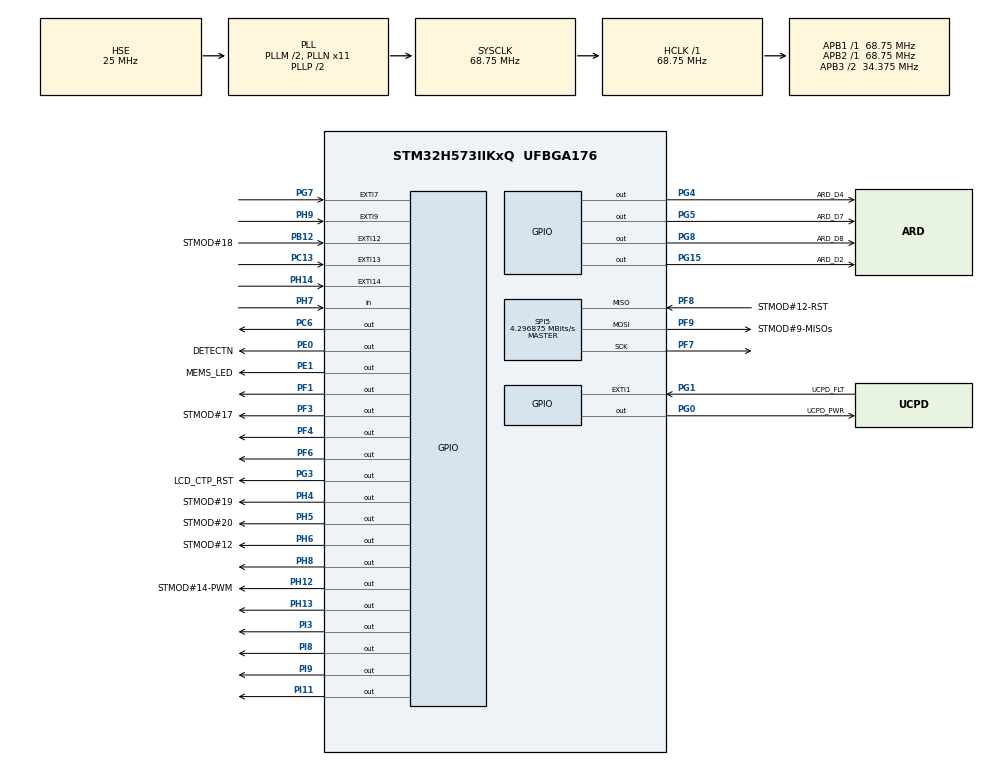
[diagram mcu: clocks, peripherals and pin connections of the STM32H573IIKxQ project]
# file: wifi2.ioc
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ADC1.Channel-0\#ChannelRegularConversion=ADC_CHANNEL_TEMPSENSOR
ADC1.ContinuousConvMode=ENABLE
ADC1.MonitoredBy-0\#ChannelRegularConversion=__NULL
ADC1.NbrOfConversionFlag=1
ADC1.OffsetNumber-0\#ChannelRegularConversion=ADC_OFFSET_NONE
ADC1.Rank-0\#ChannelRegularConversion=1
ADC1.SamplingTime-0\#ChannelRegularConversion=ADC_SAMPLETIME_2CYCLES_5
ADC1.master=1
BOOTPATH.BootPathName=LEGACY
BOOTPATH.UserSelectedBootPath=LEGACY
CORTEX_M33_NS.userName=CORTEX_M33
Mcu.Family=STM32H5
Mcu.Name=STM32H573IIKxQ
Mcu.Package=UFBGA176
NVIC.EXTI13_IRQn=true\:0\:0\:false\:false\:true\:false\:true\:true
NVIC.EXTI14_IRQn=true\:0\:0\:false\:false\:true\:false\:true\:true
NVIC.EXTI7_IRQn=true\:0\:0\:false\:false\:true\:false\:true\:true
NVIC.PriorityGroup=NVIC_PRIORITYGROUP_4
PA0.GPIO_Label=ARD_A2
PA0.Signal=ADCx_INP0
PA1.GPIO_Label=RMII_REF_CLK
PA1.Signal=ETH_REF_CLK
PA10.Signal=USART1_RX
PA11.GPIO_Label=USB_FS_N
PA11.Signal=USB_DM
PA12.GPIO_Label=USB_FS_P
PA12.Signal=USB_DP
PA13(JTMS/SWDIO).GPIO_Label=JTMS
PA13(JTMS/SWDIO).Signal=DEBUG_JTMS-SWDIO
PA14(JTCK/SWCLK).GPIO_Label=JTCK
PA14(JTCK/SWCLK).Signal=DEBUG_JTCK-SWCLK
PA15(JTDI).GPIO_Label=JTDI
PA15(JTDI).Signal=DEBUG_JTDI
PA2.GPIO_Label=RMII_MDIO
PA2.Signal=ETH_MDIO
PA3.GPIO_Label=ARD_D10
PA3.Signal=SPI2_NSS
PA4.GPIO_Label=ARD_A1
PA4.Signal=ADCx_INP18
PA5.GPIO_Label=ARD_A3
PA5.Signal=ADCx_INP19
PA6.GPIO_Label=ARD_A4
PA6.Signal=ADCx_INP3
PA7.GPIO_Label=RMII_CRS_DV
PA7.Signal=ETH_CRS_DV
PA8.GPIO_Label=ARD_D9
PA8.Signal=S_TIM1_CH1
PA9.Signal=USART1_TX
PB0.GPIO_Label=ARD_A0
PB0.Signal=ADCx_INP9
PB1.Signal=OCTOSPI1_IO0
PB10.GPIO_Label=ARD_D1
PB10.Signal=USART3_TX
PB11.GPIO_Label=ARD_D0
PB11.Signal=USART3_RX
PB12.GPIO_Label=STMOD\#18
PB12.Signal=GPXTI12
PB13.GPIO_Label=UCPD_CC1
PB13.Signal=UCPD1_CC1
PB14.GPIO_Label=UCPD_CC2
PB14.Signal=UCPD1_CC2
PB15.GPIO_Label=ARD_D11
PB15.Signal=SPI2_MOSI
PB2.Signal=OCTOSPI1_DQS
PB3(JTDO/TRACESWO).GPIO_Label=SWO
PB3(JTDO/TRACESWO).Signal=DEBUG_JTDO-SWO
PB5.GPIO_Label=ARD_D3
PB5.Signal=S_TIM3_CH2
PB6.GPIO_Label=I2C1_SCL
PB6.Signal=I2C1_SCL
PB7.GPIO_Label=I2C1_SDA
PB7.Signal=I2C1_SDA
PC0.Signal=OCTOSPI1_IO7
PC1.GPIO_Label=RMII_MDC
PC1.Signal=ETH_MDC
PC10.Signal=SDMMC1_D2
PC11.Signal=SDMMC1_D3
PC12.Signal=SDMMC1_CK
PC13.Signal=GPXTI13
PC14-OSC32_IN(OSC32_IN).Signal=RCC_OSC32_IN
PC15-OSC32_OUT(OSC32_OUT).Signal=RCC_OSC32_OUT
PC2.Signal=OCTOSPI1_IO2
PC3.GPIO_Label=PDM_SAI1_SD3
PC3.Signal=SAI1_D3
PC4.GPIO_Label=RMII_RXD0
PC4.Signal=ETH_RXD0
PC5.GPIO_Label=RMII_RXD1
PC5.Signal=ETH_RXD1
PC6.Signal=GPIO_Output
PC7.Signal=FMC_NE1
PC8.Signal=SDMMC1_D0
PC9.Signal=SDMMC1_D1
PD0.Signal=FMC_D2_DA2
PD1.Signal=FMC_D3_DA3
PD10.Signal=FMC_D15_DA15
PD11.Signal=SAI1_CK1
PD12.Signal=OCTOSPI1_IO1
PD13.Signal=OCTOSPI1_IO3
PD14.Signal=FMC_D0_DA0
PD15.Signal=FMC_D1_DA1
PD2.Signal=SDMMC1_CMD
PD3.Signal=FMC_CLK
PD4.Signal=FMC_NOE
PD5.Signal=FMC_NWE
PD6.Signal=SAI1_SD_A
PD8.Signal=FMC_D13_DA13
PD9.Signal=FMC_D14_DA14
PE0.GPIO_Label=DETECTN
PE0.Signal=GPIO_Output
PE1.GPIO_Label=MEMS_LED
PE1.Signal=GPIO_Output
PE10.Signal=FMC_D7_DA7
PE11.Signal=FMC_D8_DA8
PE12.Signal=FMC_D9_DA9
PE13.Signal=FMC_D10_DA10
PE14.Signal=FMC_D11_DA11
PE15.Signal=FMC_D12_DA12
PE2.Signal=DEBUG_TRACECLK
PE3.GPIO_Label=TRACED0
PE3.Signal=DEBUG_TRACED0
PE4.Signal=SAI1_D2
PE5.GPIO_Label=TRACED2
PE5.Signal=DEBUG_TRACED2
PE6.GPIO_Label=TRACED3
PE6.Signal=DEBUG_TRACED3
PE7.Signal=FMC_D4_DA4
PE8.Signal=FMC_D5_DA5
PE9.Signal=FMC_D6_DA6
PF0.Signal=FMC_A0
PF1.Signal=GPIO_Output
PF10.Signal=OCTOSPI1_CLK
PF11.GPIO_Label=STMOD\#13
PF11.Signal=ADC1_INP2
PF12.GPIO_Label=ARD_A5
PF12.Signal=ADC1_INP6
PF13.GPIO_Label=IBUS_SENSE
PF13.Signal=ADC2_INP2
PF14.GPIO_Label=VBUS_SENSE
PF14.Signal=ADC2_INP6
PF3.GPIO_Label=STMOD\#17
PF3.Signal=GPIO_Output
PF4.Signal=GPIO_Output
PF6.PinState=GPIO_PIN_SET
PF6.Signal=GPIO_Output
PF7.Mode=Full_Duplex_Master
PF7.Signal=SPI5_SCK
PF8.GPIO_Label=STMOD\#12-RST
PF8.Mode=Full_Duplex_Master
PF8.Signal=SPI5_MISO
PF9.GPIO_Label=STMOD\#9-MISOs
PF9.Mode=Full_Duplex_Master
PF9.Signal=SPI5_MOSI
PG0.GPIO_Label=UCPD_PWR
PG0.Signal=GPIO_Output
PG1.GPIO_Label=UCPD_FLT
PG1.Signal=GPXTI1
PG10.GPIO_Label=SAI2_SD_B
PG10.Signal=SAI2_SD_B
PG11.GPIO_Label=RMII_TX_EN
PG11.Signal=ETH_TX_EN
PG12.GPIO_Label=RMII_TXD1
PG12.Signal=ETH_TXD1
PG13.Signal=ETH_TXD0
PG14.GPIO_Label=TRACED1
PG14.Signal=DEBUG_TRACED1
PG15.GPIO_Label=ARD_D2
PG15.Signal=GPIO_Output
PG3.GPIO_Label=LCD_CTP_RST
PG3.Signal=GPIO_Output
PG4.GPIO_Label=ARD_D4
PG4.Signal=GPIO_Output
PG5.GPIO_Label=ARD_D7
PG5.Signal=GPIO_Output
PG6.Signal=OCTOSPI1_NCS
PG7.Signal=GPXTI7
PG8.GPIO_Label=ARD_D8
PG8.Signal=GPIO_Output
PG9.Signal=OCTOSPI1_IO6
PH0-OSC_IN(PH0).Mode=HSE-DIG-External-Clock-Source
PH0-OSC_IN(PH0).Signal=RCC_OSC_IN
PH10.GPIO_Label=ARD_D6
PH10.Signal=S_TIM5_CH1
PH11.GPIO_Label=ARD_D5
PH11.Signal=S_TIM5_CH2
PH12.GPIO_Label=STMOD\#14-PWM
PH12.Signal=GPIO_Output
PH13.Signal=GPIO_Output
PH14.Signal=GPXTI14
PH2.Signal=OCTOSPI1_IO4
PH3.Signal=OCTOSPI1_IO5
PH4.GPIO_Label=STMOD\#19
PH4.Signal=GPIO_Output
PH5.GPIO_Label=STMOD\#20
PH5.Signal=GPIO_Output
PH6.GPIO_Label=STMOD\#12
PH6.PinState=GPIO_PIN_SET
PH6.Signal=GPIO_Output
PH7.GPIO_PuPd=GPIO_PULLUP
PH7.Signal=GPIO_Input
PH8.PinState=GPIO_PIN_SET
PH8.Signal=GPIO_Output
PH9.GPIO_PuPd=GPIO_NOPULL
PH9.Signal=GPXTI9
PI1.GPIO_Label=ARD_D13
PI1.Signal=SPI2_SCK
PI10.GPIO_Label=RMII_RX_ER
PI10.Signal=ETH_RX_ER
PI11.Signal=GPIO_Output
PI2.GPIO_Label=ARD_D12
PI2.Signal=SPI2_MISO
PI3.Signal=GPIO_Output
PI4.Signal=SAI2_MCLK_A
PI5.Signal=SAI2_SCK_A
PI6.Signal=SAI2_SD_A
PI7.Signal=SAI2_FS_A
PI8.Signal=GPIO_Output
PI9.Signal=GPIO_Output
ProjectManager.HeapSize=0x200
ProjectManager.StackSize=0x400
ProjectManager.TargetToolchain=STM32CubeIDE
RCC.ADCFreq_Value=68750000
RCC.AHBFreq_Value=68750000
RCC.APB1Freq_Value=68750000
RCC.APB1TimFreq_Value=68750000
RCC.APB2Freq_Value=68750000
RCC.APB2TimFreq_Value=68750000
RCC.APB3CLKDivider=RCC_HCLK_DIV2
RCC.APB3Freq_Value=34375000
RCC.CSI_VALUE=4000000
RCC.CortexFreq_Value=68750000
RCC.EPOD_VALUE=25000000
RCC.HCLKFreq_Value=68750000
RCC.HSE_VALUE=25000000
RCC.HSI48_VALUE=48000000
RCC.HSIDiv=RCC_HSI_DIV1
RCC.HSI_VALUE=64000000
RCC.LSE_VALUE=32768
RCC.LSIRC_VALUE=32000
RCC.PLL2FRACN=0
RCC.PLL2N=32
RCC.PLL2P=1
RCC.PLLFRACN=0
RCC.PLLM=2
RCC.PLLN=11
RCC.PLLSourceVirtual=RCC_PLL1_SOURCE_HSE
RCC.SYSCLKFreq_VALUE=68750000
RCC.SYSCLKSource=RCC_SYSCLKSOURCE_PLLCLK
RCC.USBFreq_Value=48000000
RCC.VCOOutputFreq_Value=137500000
SH.ADCx_INP0.0=ADC1_INP0
SH.ADCx_INP18.0=ADC1_INP18
SH.ADCx_INP19.0=ADC1_INP19
SH.ADCx_INP3.0=ADC1_INP3
SH.ADCx_INP9.0=ADC1_INP9
SH.FMC_A0.0=FMC_A0
SH.FMC_CLK.0=FMC_CLK
SH.FMC_D0_DA0.0=FMC_D0
SH.FMC_D10_DA10.0=FMC_D10
SH.FMC_D11_DA11.0=FMC_D11
SH.FMC_D12_DA12.0=FMC_D12
SH.FMC_D13_DA13.0=FMC_D13
SH.FMC_D14_DA14.0=FMC_D14
SH.FMC_D15_DA15.0=FMC_D15
SH.FMC_D1_DA1.0=FMC_D1
SH.FMC_D2_DA2.0=FMC_D2
SH.FMC_D3_DA3.0=FMC_D3
SH.FMC_D4_DA4.0=FMC_D4
SH.FMC_D5_DA5.0=FMC_D5
SH.FMC_D6_DA6.0=FMC_D6
SH.FMC_D7_DA7.0=FMC_D7
SH.FMC_D8_DA8.0=FMC_D8
SH.FMC_D9_DA9.0=FMC_D9
SH.FMC_NOE.0=FMC_NOE
SH.FMC_NWE.0=FMC_NWE
SH.S_TIM1_CH1.0=TIM1_CH1
SH.S_TIM3_CH2.0=TIM3_CH2
SH.S_TIM5_CH1.0=TIM5_CH1
SH.S_TIM5_CH2.0=TIM5_CH2
SPI5.BaudRatePrescaler=SPI_BAUDRATEPRESCALER_8
SPI5.CalculateBaudRate=4.296875 MBits/s
SPI5.DataSize=SPI_DATASIZE_8BIT
SPI5.Direction=SPI_DIRECTION_2LINES
SPI5.Mode=SPI_MODE_MASTER
SPI5.VirtualType=VM_MASTER
STM32H573I-DK.AUDIO_IN=true
STM32H573I-DK.AUDIO_OUT=true
STM32H573I-DK.BUTTON=1
STM32H573I-DK.LCD_TC_ON=true
STM32H573I-DK.LD1=true
STM32H573I-DK.LD2=true
STM32H573I-DK.LD3=true
STM32H573I-DK.LD4=true
STM32H573I-DK.OCTOSPI_DEMO=true
STM32H573I-DK.SD_CARD_DEMO=true
STM32H573I-DK.VCP=true
VP_ADC1_TempSens_Input.Mode=IN-TempSens
VP_BOOTPATH_VS_BOOTPATH.Mode=BP_Activate
VP_CORTEX_M33_NS_VS_Hclk.Mode=Hclk_Mode
VP_ICACHE_VS_ICACHE.Mode=DirectMappedCache
VP_MEMORYMAP_VS_MEMORYMAP.Mode=CurAppReg
VP_PWR_VS_LPOM.Mode=PowerOptimisation
VP_PWR_VS_SECSignals.Mode=Security/Privilege
VP_STM32H573I-DK_VS_BSP_AUDIO.Mode=AUDIO
VP_STM32H573I-DK_VS_BSP_COMMON.Mode=COMMON
VP_STM32H573I-DK_VS_BSP_LCD.Mode=LCD
VP_STM32H573I-DK_VS_BSP_OCTO_SPI.Mode=OSPI
VP_STM32H573I-DK_VS_BSP_SD.Mode=SD
board=STM32H573I-DK

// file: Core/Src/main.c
/* USER CODE BEGIN Header */
/**
  ******************************************************************************
  * @file           : main.c
  * @brief          : Main program body
  ******************************************************************************
  * @attention
  *
  * Copyright (c) 2025 STMicroelectronics.
  * All rights reserved.
  *
  * This software is licensed under terms that can be found in the LICENSE file
  * in the root directory of this software component.
  * If no LICENSE file comes with this software, it is provided AS-IS.
  *
  ******************************************************************************
  */
/* USER CODE END Header */
#include "main.h"

/* USER CODE BEGIN Includes */
#include "stdio.h"
#include "mx_wifi.h"
#include "mx_wifi_io.h"
/* USER CODE END Includes */

COM_InitTypeDef BspCOMInit;
TS_Init_t   BspTSInit;
BSP_AUDIO_Init_t BspAudioInInit;
BSP_AUDIO_Init_t BspAudioOutInit;
BSP_OSPI_NOR_Init_t BspOSPINORInit;
ADC_HandleTypeDef hadc1;

SPI_HandleTypeDef hspi5;

/* USER CODE BEGIN PV */
SPI_HandleTypeDef MXCHIP_SPI;
SPI_HandleTypeDef MXCHIP_SPI;

/* USER CODE END PV */

void SystemClock_Config(void);
static void MX_GPIO_Init(void);
static void MX_ADC1_Init(void);
static void MX_ICACHE_Init(void);
static void MX_SPI5_Init(void);

int main(void)
{

  /* MCU Configuration--------------------------------------------------------*/

  /* Reset of all peripherals, Initializes the Flash interface and the Systick. */
  HAL_Init();

  /* Configure the system clock */
  SystemClock_Config();

  /* Initialize all configured peripherals */
  MX_GPIO_Init();
  MX_ADC1_Init();
  MX_ICACHE_Init();
  MX_SPI5_Init();
  /* USER CODE BEGIN 2 */

  /* Initialize COM1 port (115200, 8 bits (7-bit data + 1 stop bit), no parity */
   BspCOMInit.BaudRate   = 115200;
   BspCOMInit.WordLength = COM_WORDLENGTH_8B;
   BspCOMInit.StopBits   = COM_STOPBITS_1;
   BspCOMInit.Parity     = COM_PARITY_NONE;
   BspCOMInit.HwFlowCtl  = COM_HWCONTROL_NONE;
   if (BSP_COM_Init(COM1, &BspCOMInit) != BSP_ERROR_NONE)
   {
     Error_Handler();
   }

  printf("=== EMW3080 Init Start ===\r\n");

  void *ctx;
  if (mxwifi_probe(&ctx) != 0) {
      printf("mxwifi_probe FAILED\r\n");
      Error_Handler();
  }
  MX_WIFIObject_t *wifi_obj = (MX_WIFIObject_t *)ctx;

  /* Hardware reset: CHIP_EN + RESET */
  HAL_GPIO_WritePin(GPIOH, GPIO_PIN_8, GPIO_PIN_RESET);   // CHIP_EN LOW
  HAL_GPIO_WritePin(GPIOH, GPIO_PIN_6, GPIO_PIN_RESET);   // RESET LOW
  HAL_Delay(50);

  HAL_GPIO_WritePin(GPIOH, GPIO_PIN_8, GPIO_PIN_SET);     // CHIP_EN HIGH
  HAL_Delay(20);
  HAL_GPIO_WritePin(GPIOH, GPIO_PIN_6, GPIO_PIN_SET);     // RESET HIGH
  HAL_Delay(500);

  printf("CHIP_EN=%d RESET=%d DRDY=%d\r\n",
         HAL_GPIO_ReadPin(GPIOH, GPIO_PIN_8),
         HAL_GPIO_ReadPin(GPIOH, GPIO_PIN_6),
         HAL_GPIO_ReadPin(GPIOH, GPIO_PIN_9));

  /* Initialize Wi-Fi module */
  if (MX_WIFI_Init(wifi_obj) == MX_WIFI_STATUS_OK) {
      printf("EMW3080 READY.\r\n");
  } else {
      printf("EMW3080 INIT FAILED!\r\n");
      Error_Handler();
  }

  /* Read firmware version */
  uint8_t fw[64];
  if (MX_WIFI_GetVersion(wifi_obj, fw, sizeof(fw)) == MX_WIFI_STATUS_OK) {
      printf("FW Version: %s\r\n", fw);
  } else {
      printf("FW Version read FAILED\r\n");
  }
  /* USER CODE END 2 */

  /* Initialize leds */
  BSP_LED_Init(LED_GREEN);
  BSP_LED_Init(LED_ORANGE);
  BSP_LED_Init(LED_RED);
  BSP_LED_Init(LED_BLUE);

  /* Initialize USER push-button, will be used to trigger an interrupt each time it's pressed.*/
  BSP_PB_Init(BUTTON_USER, BUTTON_MODE_EXTI);

  /* Initialize COM1 port (115200, 8 bits (7-bit data + 1 stop bit), no parity */
  BspCOMInit.BaudRate   = 115200;
  BspCOMInit.WordLength = COM_WORDLENGTH_8B;
  BspCOMInit.StopBits   = COM_STOPBITS_1;
  BspCOMInit.Parity     = COM_PARITY_NONE;
  BspCOMInit.HwFlowCtl  = COM_HWCONTROL_NONE;
  if (BSP_COM_Init(COM1, &BspCOMInit) != BSP_ERROR_NONE)
  {
    Error_Handler();
  }

  /* Initialize LCD to black */
  if (BSP_LCD_Init(0, LCD_ORIENTATION_LANDSCAPE) != BSP_ERROR_NONE)
  {
    Error_Handler();
  }

  /* Initialize Touch screen with interrupts */
  BspTSInit.Orientation = TS_ORIENTATION_LANDSCAPE;
  BspTSInit.Accuracy = 5;
  BspTSInit.Width = LCD_DEFAULT_WIDTH;
  BspTSInit.Height = LCD_DEFAULT_HEIGHT;
  if (BSP_TS_Init(0, &BspTSInit) != BSP_ERROR_NONE)
  {
    Error_Handler();
  }
  BSP_TS_EnableIT(0);

  /* Initialize AUDIO IN (Analog) */
  BspAudioInInit.Device = AUDIO_IN_DEVICE_DIGITAL_MIC;
  BspAudioInInit.ChannelsNbr = 2;
  BspAudioInInit.SampleRate = AUDIO_FREQUENCY_16K;
  BspAudioInInit.BitsPerSample = AUDIO_RESOLUTION_16B;
  BspAudioInInit.Volume = 80;
  if (BSP_AUDIO_IN_Init(AUDIO_IN_DEVICE_DIGITAL_MIC, &BspAudioInInit) != BSP_ERROR_NONE)
  {
    Error_Handler();
  }

  /* Initialize AUDIO OUT (Headset) */
  BspAudioOutInit.Device = AUDIO_OUT_DEVICE_HEADPHONE;
  BspAudioOutInit.ChannelsNbr = 2;
  BspAudioOutInit.SampleRate = 16000;
  BspAudioOutInit.BitsPerSample = AUDIO_RESOLUTION_16B;
  BspAudioOutInit.Volume = 60;
  if(BSP_AUDIO_OUT_Init(0, &BspAudioOutInit) != BSP_ERROR_NONE)
  {
    Error_Handler();
  }

  /* Initialize OCTAL NOR memory */
  BspOSPINORInit.InterfaceMode = BSP_OSPI_NOR_OPI_MODE;
  BspOSPINORInit.TransferRate = BSP_OSPI_NOR_DTR_TRANSFER;
  if (BSP_OSPI_NOR_Init(0, &BspOSPINORInit) != BSP_ERROR_NONE)
  {
    Error_Handler();
  }

  /* Initialize SD with detection under interrupt */
  BSP_SD_Init(0);
  BSP_SD_DetectITConfig(0);

  /* Infinite loop */
  while (1)
  {

  }
}

void SystemClock_Config(void)
{
  RCC_OscInitTypeDef RCC_OscInitStruct = {0};
  RCC_ClkInitTypeDef RCC_ClkInitStruct = {0};

  /** Configure the main internal regulator output voltage
  */
  __HAL_PWR_VOLTAGESCALING_CONFIG(PWR_REGULATOR_VOLTAGE_SCALE3);

  while(!__HAL_PWR_GET_FLAG(PWR_FLAG_VOSRDY)) {}

  /** Initializes the RCC Oscillators according to the specified parameters
  * in the RCC_OscInitTypeDef structure.
  */
  RCC_OscInitStruct.OscillatorType = RCC_OSCILLATORTYPE_HSE;
  RCC_OscInitStruct.HSEState = RCC_HSE_BYPASS_DIGITAL;
  RCC_OscInitStruct.PLL.PLLState = RCC_PLL_ON;
  RCC_OscInitStruct.PLL.PLLSource = RCC_PLL1_SOURCE_HSE;
  RCC_OscInitStruct.PLL.PLLM = 2;
  RCC_OscInitStruct.PLL.PLLN = 11;
  RCC_OscInitStruct.PLL.PLLP = 2;
  RCC_OscInitStruct.PLL.PLLQ = 2;
  RCC_OscInitStruct.PLL.PLLR = 2;
  RCC_OscInitStruct.PLL.PLLRGE = RCC_PLL1_VCIRANGE_3;
  RCC_OscInitStruct.PLL.PLLVCOSEL = RCC_PLL1_VCORANGE_WIDE;
  RCC_OscInitStruct.PLL.PLLFRACN = 0;
  if (HAL_RCC_OscConfig(&RCC_OscInitStruct) != HAL_OK)
  {
    Error_Handler();
  }

  /** Initializes the CPU, AHB and APB buses clocks
  */
  RCC_ClkInitStruct.ClockType = RCC_CLOCKTYPE_HCLK|RCC_CLOCKTYPE_SYSCLK
                              |RCC_CLOCKTYPE_PCLK1|RCC_CLOCKTYPE_PCLK2
                              |RCC_CLOCKTYPE_PCLK3;
  RCC_ClkInitStruct.SYSCLKSource = RCC_SYSCLKSOURCE_PLLCLK;
  RCC_ClkInitStruct.AHBCLKDivider = RCC_SYSCLK_DIV1;
  RCC_ClkInitStruct.APB1CLKDivider = RCC_HCLK_DIV1;
  RCC_ClkInitStruct.APB2CLKDivider = RCC_HCLK_DIV1;
  RCC_ClkInitStruct.APB3CLKDivider = RCC_HCLK_DIV2;

  if (HAL_RCC_ClockConfig(&RCC_ClkInitStruct, FLASH_LATENCY_3) != HAL_OK)
  {
    Error_Handler();
  }

  /** Configure the programming delay
  */
  __HAL_FLASH_SET_PROGRAM_DELAY(FLASH_PROGRAMMING_DELAY_1);
}

static void MX_ADC1_Init(void)
{

  ADC_ChannelConfTypeDef sConfig = {0};

  /** Common config
  */
  hadc1.Instance = ADC1;
  hadc1.Init.ClockPrescaler = ADC_CLOCK_ASYNC_DIV1;
  hadc1.Init.Resolution = ADC_RESOLUTION_12B;
  hadc1.Init.DataAlign = ADC_DATAALIGN_RIGHT;
  hadc1.Init.ScanConvMode = ADC_SCAN_DISABLE;
  hadc1.Init.EOCSelection = ADC_EOC_SINGLE_CONV;
  hadc1.Init.LowPowerAutoWait = DISABLE;
  hadc1.Init.ContinuousConvMode = ENABLE;
  hadc1.Init.NbrOfConversion = 1;
  hadc1.Init.DiscontinuousConvMode = DISABLE;
  hadc1.Init.ExternalTrigConv = ADC_SOFTWARE_START;
  hadc1.Init.ExternalTrigConvEdge = ADC_EXTERNALTRIGCONVEDGE_NONE;
  hadc1.Init.DMAContinuousRequests = DISABLE;
  hadc1.Init.SamplingMode = ADC_SAMPLING_MODE_NORMAL;
  hadc1.Init.Overrun = ADC_OVR_DATA_PRESERVED;
  hadc1.Init.OversamplingMode = DISABLE;
  if (HAL_ADC_Init(&hadc1) != HAL_OK)
  {
    Error_Handler();
  }

  /** Configure Regular Channel
  */
  sConfig.Channel = ADC_CHANNEL_TEMPSENSOR;
  sConfig.Rank = ADC_REGULAR_RANK_1;
  sConfig.SamplingTime = ADC_SAMPLETIME_2CYCLES_5;
  sConfig.SingleDiff = ADC_SINGLE_ENDED;
  sConfig.OffsetNumber = ADC_OFFSET_NONE;
  sConfig.Offset = 0;
  if (HAL_ADC_ConfigChannel(&hadc1, &sConfig) != HAL_OK)
  {
    Error_Handler();
  }

}

static void MX_ICACHE_Init(void)
{

  /** Enable instruction cache in 1-way (direct mapped cache)
  */
  if (HAL_ICACHE_ConfigAssociativityMode(ICACHE_1WAY) != HAL_OK)
  {
    Error_Handler();
  }
  if (HAL_ICACHE_Enable() != HAL_OK)
  {
    Error_Handler();
  }

}

static void MX_SPI5_Init(void)
{

  /* SPI5 parameter configuration*/
  hspi5.Instance = SPI5;
  hspi5.Init.Mode = SPI_MODE_MASTER;
  hspi5.Init.Direction = SPI_DIRECTION_2LINES;
  hspi5.Init.DataSize = SPI_DATASIZE_8BIT;
  hspi5.Init.CLKPolarity = SPI_POLARITY_LOW;
  hspi5.Init.CLKPhase = SPI_PHASE_1EDGE;
  hspi5.Init.NSS = SPI_NSS_SOFT;
  hspi5.Init.BaudRatePrescaler = SPI_BAUDRATEPRESCALER_8;
  hspi5.Init.FirstBit = SPI_FIRSTBIT_MSB;
  hspi5.Init.TIMode = SPI_TIMODE_DISABLE;
  hspi5.Init.CRCCalculation = SPI_CRCCALCULATION_DISABLE;
  hspi5.Init.CRCPolynomial = 0x7;
  hspi5.Init.NSSPMode = SPI_NSS_PULSE_ENABLE;
  hspi5.Init.NSSPolarity = SPI_NSS_POLARITY_LOW;
  hspi5.Init.FifoThreshold = SPI_FIFO_THRESHOLD_01DATA;
  hspi5.Init.MasterSSIdleness = SPI_MASTER_SS_IDLENESS_00CYCLE;
  hspi5.Init.MasterInterDataIdleness = SPI_MASTER_INTERDATA_IDLENESS_00CYCLE;
  hspi5.Init.MasterReceiverAutoSusp = SPI_MASTER_RX_AUTOSUSP_DISABLE;
  hspi5.Init.MasterKeepIOState = SPI_MASTER_KEEP_IO_STATE_DISABLE;
  hspi5.Init.IOSwap = SPI_IO_SWAP_DISABLE;
  hspi5.Init.ReadyMasterManagement = SPI_RDY_MASTER_MANAGEMENT_INTERNALLY;
  hspi5.Init.ReadyPolarity = SPI_RDY_POLARITY_HIGH;
  if (HAL_SPI_Init(&hspi5) != HAL_OK)
  {
    Error_Handler();
  }
  /* USER CODE BEGIN SPI5_Init 2 */
  MXCHIP_SPI = hspi5;    // copy struct after initialization

  /* USER CODE END SPI5_Init 2 */

}

static void MX_GPIO_Init(void)
{
  GPIO_InitTypeDef GPIO_InitStruct = {0};

  /* GPIO Ports Clock Enable */
  __HAL_RCC_GPIOB_CLK_ENABLE();
  __HAL_RCC_GPIOG_CLK_ENABLE();
  __HAL_RCC_GPIOI_CLK_ENABLE();
  __HAL_RCC_GPIOE_CLK_ENABLE();
  __HAL_RCC_GPIOA_CLK_ENABLE();
  __HAL_RCC_GPIOC_CLK_ENABLE();
  __HAL_RCC_GPIOF_CLK_ENABLE();
  __HAL_RCC_GPIOH_CLK_ENABLE();

  /*Configure GPIO pin Output Level */
  HAL_GPIO_WritePin(GPIOG, ARD_D2_Pin|ARD_D8_Pin|LCD_CTP_RST_Pin|ARD_D7_Pin
                          |ARD_D4_Pin|UCPD_PWR_Pin, GPIO_PIN_RESET);

  /*Configure GPIO pin Output Level */
  HAL_GPIO_WritePin(GPIOE, MEMS_LED_Pin|DETECTN_Pin, GPIO_PIN_RESET);

  /*Configure GPIO pin Output Level */
  HAL_GPIO_WritePin(STMOD_17_GPIO_Port, STMOD_17_Pin, GPIO_PIN_RESET);

  /*Configure GPIO pin Output Level */
  HAL_GPIO_WritePin(GPIOF, GPIO_PIN_6, GPIO_PIN_SET);

  /*Configure GPIO pin Output Level */
  HAL_GPIO_WritePin(GPIOH, STMOD_14_PWM_Pin|STMOD_20_Pin|STMOD_19_Pin, GPIO_PIN_RESET);

  /*Configure GPIO pin Output Level */
  HAL_GPIO_WritePin(GPIOH, GPIO_PIN_8|STMOD_12_Pin, GPIO_PIN_SET);

  /*Configure GPIO pin : ARD_D3_Pin */
  GPIO_InitStruct.Pin = ARD_D3_Pin;
  GPIO_InitStruct.Mode = GPIO_MODE_AF_PP;
  GPIO_InitStruct.Pull = GPIO_NOPULL;
  GPIO_InitStruct.Speed = GPIO_SPEED_FREQ_LOW;
  GPIO_InitStruct.Alternate = GPIO_AF2_TIM3;
  HAL_GPIO_Init(ARD_D3_GPIO_Port, &GPIO_InitStruct);

  /*Configure GPIO pins : ARD_D2_Pin ARD_D8_Pin LCD_CTP_RST_Pin ARD_D7_Pin
                           ARD_D4_Pin UCPD_PWR_Pin */
  GPIO_InitStruct.Pin = ARD_D2_Pin|ARD_D8_Pin|LCD_CTP_RST_Pin|ARD_D7_Pin
                          |ARD_D4_Pin|UCPD_PWR_Pin;
  GPIO_InitStruct.Mode = GPIO_MODE_OUTPUT_PP;
  GPIO_InitStruct.Pull = GPIO_NOPULL;
  GPIO_InitStruct.Speed = GPIO_SPEED_FREQ_LOW;
  HAL_GPIO_Init(GPIOG, &GPIO_InitStruct);

  /*Configure GPIO pin : SAI2_SD_B_Pin */
  GPIO_InitStruct.Pin = SAI2_SD_B_Pin;
  GPIO_InitStruct.Mode = GPIO_MODE_AF_PP;
  GPIO_InitStruct.Pull = GPIO_NOPULL;
  GPIO_InitStruct.Speed = GPIO_SPEED_FREQ_LOW;
  GPIO_InitStruct.Alternate = GPIO_AF10_SAI2;
  HAL_GPIO_Init(SAI2_SD_B_GPIO_Port, &GPIO_InitStruct);

  /*Configure GPIO pins : ARD_D13_Pin ARD_D12_Pin */
  GPIO_InitStruct.Pin = ARD_D13_Pin|ARD_D12_Pin;
  GPIO_InitStruct.Mode = GPIO_MODE_AF_PP;
  GPIO_InitStruct.Pull = GPIO_NOPULL;
  GPIO_InitStruct.Speed = GPIO_SPEED_FREQ_LOW;
  GPIO_InitStruct.Alternate = GPIO_AF5_SPI2;
  HAL_GPIO_Init(GPIOI, &GPIO_InitStruct);

  /*Configure GPIO pins : MEMS_LED_Pin DETECTN_Pin */
  GPIO_InitStruct.Pin = MEMS_LED_Pin|DETECTN_Pin;
  GPIO_InitStruct.Mode = GPIO_MODE_OUTPUT_PP;
  GPIO_InitStruct.Pull = GPIO_NOPULL;
  GPIO_InitStruct.Speed = GPIO_SPEED_FREQ_LOW;
  HAL_GPIO_Init(GPIOE, &GPIO_InitStruct);

  /*Configure GPIO pins : I2C1_SCL_Pin I2C1_SDA_Pin */
  GPIO_InitStruct.Pin = I2C1_SCL_Pin|I2C1_SDA_Pin;
  GPIO_InitStruct.Mode = GPIO_MODE_AF_OD;
  GPIO_InitStruct.Pull = GPIO_NOPULL;
  GPIO_InitStruct.Speed = GPIO_SPEED_FREQ_LOW;
  GPIO_InitStruct.Alternate = GPIO_AF4_I2C1;
  HAL_GPIO_Init(GPIOB, &GPIO_InitStruct);

  /*Configure GPIO pins : RMII_TXD1_Pin RMII_TX_EN_Pin */
  GPIO_InitStruct.Pin = RMII_TXD1_Pin|RMII_TX_EN_Pin;
  GPIO_InitStruct.Mode = GPIO_MODE_AF_PP;
  GPIO_InitStruct.Pull = GPIO_NOPULL;
  GPIO_InitStruct.Speed = GPIO_SPEED_FREQ_HIGH;
  GPIO_InitStruct.Alternate = GPIO_AF11_ETH;
  HAL_GPIO_Init(GPIOG, &GPIO_InitStruct);

  /*Configure GPIO pin : PE4 */
  GPIO_InitStruct.Pin = GPIO_PIN_4;
  GPIO_InitStruct.Mode = GPIO_MODE_AF_PP;
  GPIO_InitStruct.Pull = GPIO_NOPULL;
  GPIO_InitStruct.Speed = GPIO_SPEED_FREQ_LOW;
  GPIO_InitStruct.Alternate = GPIO_AF2_SAI1;
  HAL_GPIO_Init(GPIOE, &GPIO_InitStruct);

  /*Configure GPIO pins : USB_FS_P_Pin USB_FS_N_Pin */
  GPIO_InitStruct.Pin = USB_FS_P_Pin|USB_FS_N_Pin;
  GPIO_InitStruct.Mode = GPIO_MODE_AF_PP;
  GPIO_InitStruct.Pull = GPIO_NOPULL;
  GPIO_InitStruct.Speed = GPIO_SPEED_FREQ_LOW;
  GPIO_InitStruct.Alternate = GPIO_AF10_USB;
  HAL_GPIO_Init(GPIOA, &GPIO_InitStruct);

  /*Configure GPIO pin : RMII_RX_ER_Pin */
  GPIO_InitStruct.Pin = RMII_RX_ER_Pin;
  GPIO_InitStruct.Mode = GPIO_MODE_AF_PP;
  GPIO_InitStruct.Pull = GPIO_NOPULL;
  GPIO_InitStruct.Speed = GPIO_SPEED_FREQ_HIGH;
  GPIO_InitStruct.Alternate = GPIO_AF11_ETH;
  HAL_GPIO_Init(RMII_RX_ER_GPIO_Port, &GPIO_InitStruct);

  /*Configure GPIO pin : ARD_D9_Pin */
  GPIO_InitStruct.Pin = ARD_D9_Pin;
  GPIO_InitStruct.Mode = GPIO_MODE_AF_PP;
  GPIO_InitStruct.Pull = GPIO_NOPULL;
  GPIO_InitStruct.Speed = GPIO_SPEED_FREQ_LOW;
  GPIO_InitStruct.Alternate = GPIO_AF1_TIM1;
  HAL_GPIO_Init(ARD_D9_GPIO_Port, &GPIO_InitStruct);

  /*Configure GPIO pins : STMOD_17_Pin PF6 */
  GPIO_InitStruct.Pin = STMOD_17_Pin|GPIO_PIN_6;
  GPIO_InitStruct.Mode = GPIO_MODE_OUTPUT_PP;
  GPIO_InitStruct.Pull = GPIO_NOPULL;
  GPIO_InitStruct.Speed = GPIO_SPEED_FREQ_LOW;
  HAL_GPIO_Init(GPIOF, &GPIO_InitStruct);

  /*Configure GPIO pins : RMII_MDC_Pin RMII_RXD0_Pin RMII_RXD1_Pin */
  GPIO_InitStruct.Pin = RMII_MDC_Pin|RMII_RXD0_Pin|RMII_RXD1_Pin;
  GPIO_InitStruct.Mode = GPIO_MODE_AF_PP;
  GPIO_InitStruct.Pull = GPIO_NOPULL;
  GPIO_InitStruct.Speed = GPIO_SPEED_FREQ_HIGH;
  GPIO_InitStruct.Alternate = GPIO_AF11_ETH;
  HAL_GPIO_Init(GPIOC, &GPIO_InitStruct);

  /*Configure GPIO pins : RMII_REF_CLK_Pin RMII_MDIO_Pin RMII_CRS_DV_Pin */
  GPIO_InitStruct.Pin = RMII_REF_CLK_Pin|RMII_MDIO_Pin|RMII_CRS_DV_Pin;
  GPIO_InitStruct.Mode = GPIO_MODE_AF_PP;
  GPIO_InitStruct.Pull = GPIO_NOPULL;
  GPIO_InitStruct.Speed = GPIO_SPEED_FREQ_HIGH;
  GPIO_InitStruct.Alternate = GPIO_AF11_ETH;
  HAL_GPIO_Init(GPIOA, &GPIO_InitStruct);

  /*Configure GPIO pin : STMOD_18_Pin */
  GPIO_InitStruct.Pin = STMOD_18_Pin;
  GPIO_InitStruct.Mode = GPIO_MODE_IT_RISING;
  GPIO_InitStruct.Pull = GPIO_NOPULL;
  HAL_GPIO_Init(STMOD_18_GPIO_Port, &GPIO_InitStruct);

  /*Configure GPIO pins : ARD_D1_Pin ARD_D0_Pin */
  GPIO_InitStruct.Pin = ARD_D1_Pin|ARD_D0_Pin;
  GPIO_InitStruct.Mode = GPIO_MODE_AF_PP;
  GPIO_InitStruct.Pull = GPIO_NOPULL;
  GPIO_InitStruct.Speed = GPIO_SPEED_FREQ_LOW;
  GPIO_InitStruct.Alternate = GPIO_AF7_USART3;
  HAL_GPIO_Init(GPIOB, &GPIO_InitStruct);

  /*Configure GPIO pin : PH9 */
  GPIO_InitStruct.Pin = GPIO_PIN_9;
  GPIO_InitStruct.Mode = GPIO_MODE_IT_RISING;
  GPIO_InitStruct.Pull = GPIO_NOPULL;
  HAL_GPIO_Init(GPIOH, &GPIO_InitStruct);

  /*Configure GPIO pins : STMOD_14_PWM_Pin PH8 STMOD_20_Pin STMOD_12_Pin
                           STMOD_19_Pin */
  GPIO_InitStruct.Pin = STMOD_14_PWM_Pin|GPIO_PIN_8|STMOD_20_Pin|STMOD_12_Pin
                          |STMOD_19_Pin;
  GPIO_InitStruct.Mode = GPIO_MODE_OUTPUT_PP;
  GPIO_InitStruct.Pull = GPIO_NOPULL;
  GPIO_InitStruct.Speed = GPIO_SPEED_FREQ_LOW;
  HAL_GPIO_Init(GPIOH, &GPIO_InitStruct);

  /*Configure GPIO pin : ARD_D11_Pin */
  GPIO_InitStruct.Pin = ARD_D11_Pin;
  GPIO_InitStruct.Mode = GPIO_MODE_AF_PP;
  GPIO_InitStruct.Pull = GPIO_NOPULL;
  GPIO_InitStruct.Speed = GPIO_SPEED_FREQ_LOW;
  GPIO_InitStruct.Alternate = GPIO_AF5_SPI2;
  HAL_GPIO_Init(ARD_D11_GPIO_Port, &GPIO_InitStruct);

  /*Configure GPIO pin : PDM_SAI1_SD3_Pin */
  GPIO_InitStruct.Pin = PDM_SAI1_SD3_Pin;
  GPIO_InitStruct.Mode = GPIO_MODE_AF_PP;
  GPIO_InitStruct.Pull = GPIO_NOPULL;
  GPIO_InitStruct.Speed = GPIO_SPEED_FREQ_LOW;
  GPIO_InitStruct.Alternate = GPIO_AF2_SAI1;
  HAL_GPIO_Init(PDM_SAI1_SD3_GPIO_Port, &GPIO_InitStruct);

  /*Configure GPIO pin : ARD_D10_Pin */
  GPIO_InitStruct.Pin = ARD_D10_Pin;
  GPIO_InitStruct.Mode = GPIO_MODE_AF_PP;
  GPIO_InitStruct.Pull = GPIO_NOPULL;
  GPIO_InitStruct.Speed = GPIO_SPEED_FREQ_LOW;
  GPIO_InitStruct.Alternate = GPIO_AF5_SPI2;
  HAL_GPIO_Init(ARD_D10_GPIO_Port, &GPIO_InitStruct);

  /*Configure GPIO pins : ARD_D6_Pin ARD_D5_Pin */
  GPIO_InitStruct.Pin = ARD_D6_Pin|ARD_D5_Pin;
  GPIO_InitStruct.Mode = GPIO_MODE_AF_PP;
  GPIO_InitStruct.Pull = GPIO_NOPULL;
  GPIO_InitStruct.Speed = GPIO_SPEED_FREQ_LOW;
  GPIO_InitStruct.Alternate = GPIO_AF2_TIM5;
  HAL_GPIO_Init(GPIOH, &GPIO_InitStruct);

  /*Configure GPIO pins : UCPD_CC2_Pin UCPD_CC1_Pin */
  GPIO_InitStruct.Pin = UCPD_CC2_Pin|UCPD_CC1_Pin;
  GPIO_InitStruct.Mode = GPIO_MODE_ANALOG;
  GPIO_InitStruct.Pull = GPIO_NOPULL;
  HAL_GPIO_Init(GPIOB, &GPIO_InitStruct);

  /*Configure GPIO pins : IBUS_SENSE_Pin VBUS_SENSE_Pin */
  GPIO_InitStruct.Pin = IBUS_SENSE_Pin|VBUS_SENSE_Pin;
  GPIO_InitStruct.Mode = GPIO_MODE_ANALOG;
  GPIO_InitStruct.Pull = GPIO_NOPULL;
  HAL_GPIO_Init(GPIOF, &GPIO_InitStruct);

  /*Configure GPIO pin : UCPD_FLT_Pin */
  GPIO_InitStruct.Pin = UCPD_FLT_Pin;
  GPIO_InitStruct.Mode = GPIO_MODE_IT_RISING;
  GPIO_InitStruct.Pull = GPIO_NOPULL;
  HAL_GPIO_Init(UCPD_FLT_GPIO_Port, &GPIO_InitStruct);

  /*Configure GPIO pin : PH7 */
  GPIO_InitStruct.Pin = GPIO_PIN_7;
  GPIO_InitStruct.Mode = GPIO_MODE_INPUT;
  GPIO_InitStruct.Pull = GPIO_PULLUP;
  HAL_GPIO_Init(GPIOH, &GPIO_InitStruct);

}

void Error_Handler(void)
{
  __disable_irq();
  while (1)
  {
  }
}
